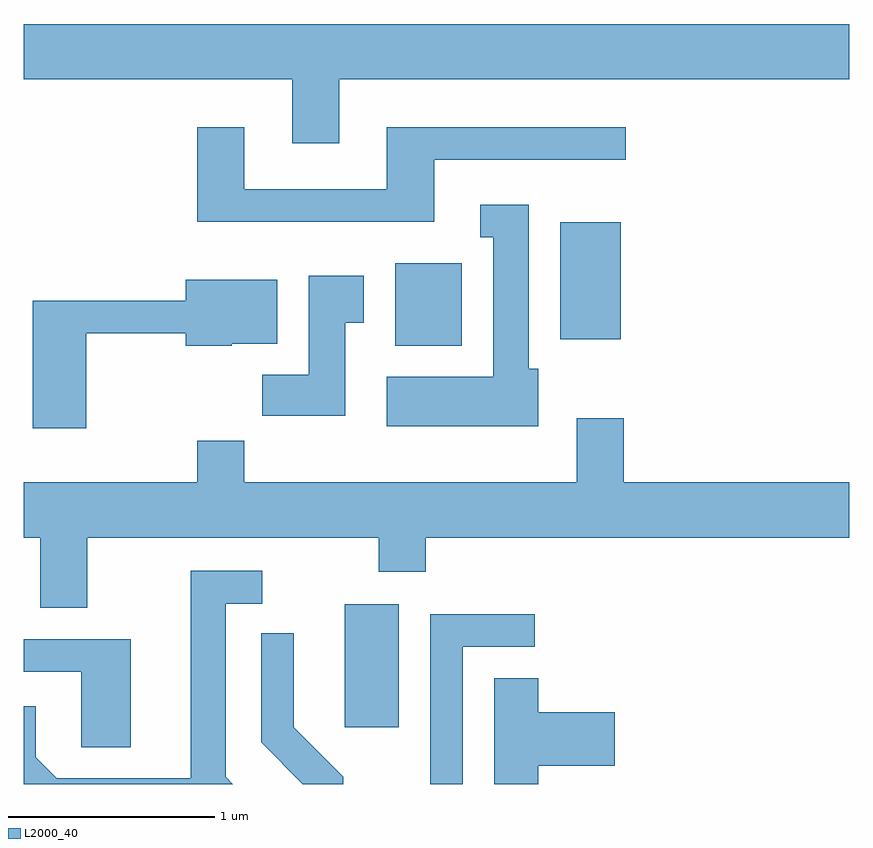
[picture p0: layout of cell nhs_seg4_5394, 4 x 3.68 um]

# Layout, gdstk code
import gdstk
lib = gdstk.Library(unit=1e-6, precision=1e-09)
def R(c, l, rs):  # rectangles x0, y0, x1, y1
    for r in rs: c.add(gdstk.rectangle(r[:2], r[2:], *l))
def P(c, l, *ps):  # polygons
    for p in ps: c.add(gdstk.Polygon(p, *l))
L2000_40 = (2000, 40)

nhs_seg4_5394 = lib.new_cell('nhs_seg4_5394')
R(nhs_seg4_5394, L2000_40, [(345.166,1298.256,345.429,1298.854), (345.411,1300.106,345.734,1300.504), (346.211,1300.136,346.504,1300.704)])
P(nhs_seg4_5394, L2000_40, [(345.139,1301.396),(347.611,1301.396),(347.611,1301.664),(343.611,1301.664),(343.611,1301.396),(344.911,1301.396),(344.911,1301.086),(345.139,1301.086)],
  [(345.599,1301.006),(346.528,1301.006),(346.528,1301.164),(345.371,1301.164),(345.371,1300.864),(344.679,1300.864),(344.679,1301.164),(344.451,1301.164),(344.451,1300.706),(345.599,1300.706)],
  [(346.104,1299.994),(346.059,1299.994),(346.059,1300.789),(345.823,1300.789),(345.823,1300.631),(345.886,1300.631),(345.886,1299.954),(345.371,1299.954),(345.371,1299.716),(346.104,1299.716)],
  [(345.169,1300.216),(345.259,1300.216),(345.259,1300.444),(344.991,1300.444),(344.991,1299.964),(344.766,1299.964),(344.766,1299.766),(345.169,1299.766)],
  [(343.914,1300.166),(344.396,1300.166),(344.396,1300.106),(344.62,1300.106),(344.62,1300.116),(344.839,1300.116),(344.839,1300.424),(344.396,1300.424),(344.396,1300.324),(343.656,1300.324),(343.656,1299.706),(343.914,1299.706)],
  [(343.919,1299.176),(345.331,1299.176),(345.331,1299.011),(345.559,1299.011),(345.559,1299.176),(347.611,1299.176),(347.611,1299.444),(346.519,1299.444),(346.519,1299.754),(346.291,1299.754),(346.291,1299.444),(344.679,1299.444),(344.679,1299.644),(344.451,1299.644),(344.451,1299.444),(343.611,1299.444),(343.611,1299.176),(343.691,1299.176),(343.691,1298.836),(343.919,1298.836)],
  [(344.589,1298.017),(344.589,1298.856),(344.768,1298.856),(344.768,1299.014),(344.421,1299.014),(344.421,1298.009),(343.772,1298.009),(343.669,1298.112),(343.669,1298.358),(343.611,1298.358),(343.611,1297.982),(344.624,1297.982)],
  [(345.739,1298.646),(346.088,1298.646),(346.088,1298.804),(345.581,1298.804),(345.581,1297.982),(345.739,1297.982)],
  [(345.159,1298.017),(344.919,1298.257),(344.919,1298.713),(344.761,1298.713),(344.761,1298.184),(344.963,1297.982),(345.159,1297.982)],
  [(344.129,1298.684),(343.611,1298.684),(343.611,1298.526),(343.891,1298.526),(343.891,1298.161),(344.129,1298.161)],
  [(346.104,1298.071),(346.474,1298.071),(346.474,1298.329),(346.104,1298.329),(346.104,1298.494),(345.891,1298.494),(345.891,1297.982),(346.104,1297.982)])

lib.write_gds('nhs_seg4_5394.gds')
